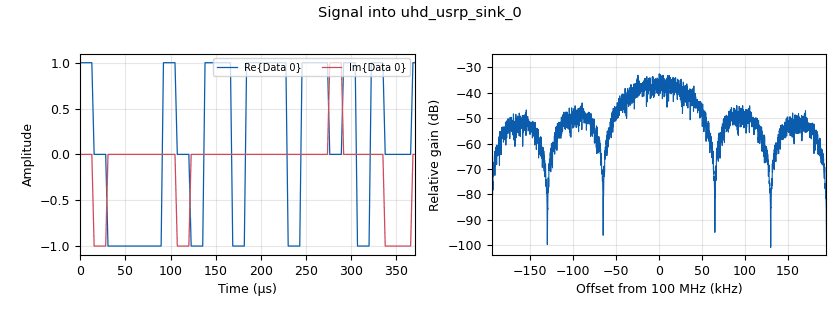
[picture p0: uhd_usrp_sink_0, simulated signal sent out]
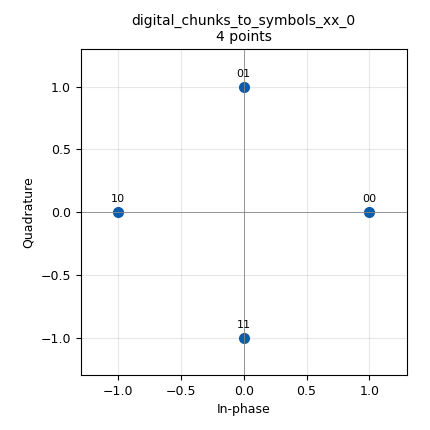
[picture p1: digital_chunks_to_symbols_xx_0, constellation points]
<?xml version='1.0' encoding='utf-8'?>
<?grc format='1' created='3.7.11'?>
<flow_graph>
<block>
<key>options</key>
<param><key>id</key><value>top_block</value></param>
<param><key>generate_options</key><value>qt_gui</value></param>
<param><key>run</key><value>run_stop</value></param>
</block>
<block>
<key>variable</key>
<param><key>id</key><value>Bps</value></param>
<param><key>value</key><value>int(math.log(M,2))</value></param>
</block>
<block>
<key>variable</key>
<param><key>id</key><value>Constelacion</value></param>
<param><key>_enabled</key><value>0</value></param>
<param><key>value</key><value>1.+0j,  -1.-0.j</value></param>
</block>
<block>
<key>variable</key>
<param><key>id</key><value>Constelacion</value></param>
<param><key>_enabled</key><value>0</value></param>
<param><key>value</key><value>digital.constellation_16qam().points()</value></param>
</block>
<block>
<key>variable</key>
<param><key>id</key><value>Constelacion</value></param>
<param><key>_enabled</key><value>0</value></param>
<param><key>value</key><value>digital.constellation_qpsk().points()</value></param>
</block>
<block>
<key>variable</key>
<param><key>id</key><value>Constelacion</value></param>
<param><key>_enabled</key><value>0</value></param>
<param><key>value</key><value>digital.constellation_8psk().points()</value></param>
</block>
<block>
<key>variable</key>
<param><key>id</key><value>Constelacion</value></param>
<param><key>value</key><value>1.+0j,  0.+1.j,  -1.-0.j,  0.-1.j</value></param>
</block>
<block>
<key>variable</key>
<param><key>id</key><value>Constelacion_0</value></param>
<param><key>_enabled</key><value>0</value></param>
<param><key>value</key><value>digital.constellation_bpsk().points()</value></param>
</block>
<block>
<key>variable</key>
<param><key>id</key><value>EsN0max</value></param>
<param><key>value</key><value>30.</value></param>
</block>
<block>
<key>variable</key>
<param><key>id</key><value>EsN0min</value></param>
<param><key>value</key><value>-10.</value></param>
</block>
<block>
<key>variable_qtgui_range</key>
<param><key>id</key><value>Gain</value></param>
<param><key>value</key><value>10</value></param>
<param><key>orient</key><value>Qt.Horizontal</value></param>
<param><key>start</key><value>0</value></param>
<param><key>step</key><value>1</value></param>
<param><key>stop</key><value>40</value></param>
</block>
<block>
<key>variable_qtgui_range</key>
<param><key>id</key><value>Gain_Tx</value></param>
<param><key>value</key><value>10</value></param>
<param><key>orient</key><value>Qt.Horizontal</value></param>
<param><key>start</key><value>0</value></param>
<param><key>step</key><value>1</value></param>
<param><key>stop</key><value>40</value></param>
</block>
<block>
<key>variable</key>
<param><key>id</key><value>M</value></param>
<param><key>value</key><value>len(Constelacion)</value></param>
</block>
<block>
<key>variable_constellation</key>
<param><key>id</key><value>MiconstellationObject</value></param>
<param><key>const_points</key><value>Constelacion</value></param>
<param><key>type</key><value>calcdist</value></param>
<param><key>dims</key><value>1</value></param>
<param><key>rot_sym</key><value>4</value></param>
<param><key>precision</key><value>8</value></param>
<param><key>sym_map</key><value></value></param>
</block>
<block>
<key>variable</key>
<param><key>id</key><value>N_snr</value></param>
<param><key>value</key><value>64</value></param>
</block>
<block>
<key>variable_qtgui_range</key>
<param><key>id</key><value>Ph_correction</value></param>
<param><key>value</key><value>0</value></param>
<param><key>gui_hint</key><value>0,3,1,1</value></param>
<param><key>label</key><value>Ph_correction</value></param>
<param><key>orient</key><value>Qt.Horizontal</value></param>
<param><key>start</key><value>-numpy.pi</value></param>
<param><key>step</key><value>2*numpy.pi/720.</value></param>
<param><key>stop</key><value>numpy.pi</value></param>
</block>
<block>
<key>variable</key>
<param><key>id</key><value>RB</value></param>
<param><key>value</key><value>Rb/8</value></param>
</block>
<block>
<key>variable</key>
<param><key>id</key><value>Rb</value></param>
<param><key>value</key><value>Rs*Bps</value></param>
</block>
<block>
<key>variable_qtgui_range</key>
<param><key>id</key><value>Retardo_Timing</value></param>
<param><key>value</key><value>5</value></param>
<param><key>gui_hint</key><value>0,2,1,1</value></param>
<param><key>label</key><value>Timing</value></param>
<param><key>orient</key><value>Qt.Horizontal</value></param>
<param><key>start</key><value>0</value></param>
<param><key>step</key><value>1</value></param>
<param><key>stop</key><value>Sps-1</value></param>
<param><key>rangeType</key><value>int</value></param>
</block>
<block>
<key>variable_qtgui_range</key>
<param><key>id</key><value>Retardo_propag</value></param>
<param><key>value</key><value>1</value></param>
<param><key>gui_hint</key><value>0,1,1,1</value></param>
<param><key>label</key><value>Propagation delay</value></param>
<param><key>orient</key><value>Qt.Horizontal</value></param>
<param><key>start</key><value>0</value></param>
<param><key>step</key><value>1</value></param>
<param><key>stop</key><value>Sps*10</value></param>
<param><key>rangeType</key><value>int</value></param>
</block>
<block>
<key>variable</key>
<param><key>id</key><value>Rolloff</value></param>
<param><key>value</key><value>1.0</value></param>
</block>
<block>
<key>variable</key>
<param><key>id</key><value>Rs</value></param>
<param><key>value</key><value>samp_rate/Sps</value></param>
</block>
<block>
<key>variable</key>
<param><key>id</key><value>Sps</value></param>
<param><key>value</key><value>6</value></param>
</block>
<block>
<key>variable</key>
<param><key>id</key><value>W</value></param>
<param><key>value</key><value>Rb/2</value></param>
</block>
<block>
<key>variable_qtgui_range</key>
<param><key>id</key><value>fc</value></param>
<param><key>value</key><value>100e6</value></param>
<param><key>_enabled</key><value>0</value></param>
<param><key>orient</key><value>Qt.Horizontal</value></param>
<param><key>start</key><value>1e3</value></param>
<param><key>step</key><value>1e3</value></param>
<param><key>stop</key><value>1e9</value></param>
</block>
<block>
<key>variable</key>
<param><key>id</key><value>fc</value></param>
<param><key>value</key><value>100e6</value></param>
</block>
<block>
<key>variable</key>
<param><key>id</key><value>h</value></param>
<param><key>value</key><value>wform.rect(Sps)</value></param>
</block>
<block>
<key>variable</key>
<param><key>id</key><value>h</value></param>
<param><key>_enabled</key><value>0</value></param>
<param><key>value</key><value>wform.rrcos(Sps,ntaps,Rolloff)</value></param>
</block>
<block>
<key>variable</key>
<param><key>id</key><value>ntaps</value></param>
<param><key>value</key><value>Sps*32</value></param>
</block>
<block>
<key>variable_qtgui_check_box</key>
<param><key>id</key><value>run_stop</value></param>
<param><key>value</key><value>True</value></param>
<param><key>false</key><value>False</value></param>
<param><key>gui_hint</key><value>0,0,1,1</value></param>
<param><key>label</key><value>Pause</value></param>
<param><key>true</key><value>True</value></param>
<param><key>type</key><value>int</value></param>
</block>
<block>
<key>variable</key>
<param><key>id</key><value>samp_rate</value></param>
<param><key>value</key><value>(100e6)/256</value></param>
</block>
<block>
<key>E3TRadio_diezmador_cc</key>
<param><key>id</key><value>E3TRadio_diezmador_cc_0</value></param>
<param><key>paso</key><value>Sps</value></param>
</block>
<block>
<key>analog_const_source_x</key>
<param><key>id</key><value>analog_const_source_x_0</value></param>
<param><key>const</key><value>numpy.exp(Ph_correction*1.j)</value></param>
<param><key>type</key><value>complex</value></param>
</block>
<block>
<key>analog_random_source_x</key>
<param><key>id</key><value>analog_random_source_x_0</value></param>
<param><key>max</key><value>256</value></param>
<param><key>min</key><value>0</value></param>
<param><key>num_samps</key><value>1000000</value></param>
<param><key>type</key><value>byte</value></param>
<param><key>repeat</key><value>True</value></param>
</block>
<block>
<key>b_Eye_Diagram_simple_c</key>
<param><key>id</key><value>b_Eye_Diagram_simple_c_0</value></param>
<param><key>AlphaLineas</key><value>0.5</value></param>
<param><key>Delay_i</key><value>0</value></param>
<param><key>gui_hint</key><value>menu@2:1,0,1,1</value></param>
<param><key>GrosorLineas</key><value>20</value></param>
<param><key>Kint</key><value>1</value></param>
<param><key>N_eyes</key><value>2</value></param>
<param><key>Samprate1</key><value>samp_rate</value></param>
<param><key>Sps1</key><value>Sps</value></param>
<param><key>Title</key><value>"Eye Diagramm en T1"</value></param>
<param><key>Ymax</key><value>2</value></param>
<param><key>Ymin</key><value>-2</value></param>
</block>
<block>
<key>b_Eye_Diagram_simple_c</key>
<param><key>id</key><value>b_Eye_Diagram_simple_c_0_0</value></param>
<param><key>AlphaLineas</key><value>0.5</value></param>
<param><key>Delay_i</key><value>0</value></param>
<param><key>gui_hint</key><value>menu@2:2,0,1,1</value></param>
<param><key>GrosorLineas</key><value>20</value></param>
<param><key>Kint</key><value>1</value></param>
<param><key>N_eyes</key><value>2</value></param>
<param><key>Samprate1</key><value>samp_rate</value></param>
<param><key>Sps1</key><value>Sps</value></param>
<param><key>Title</key><value>"Eye Diagramm en R1"</value></param>
<param><key>Ymax</key><value>2</value></param>
<param><key>Ymin</key><value>-2</value></param>
</block>
<block>
<key>b_Eye_Timing_c</key>
<param><key>id</key><value>b_Eye_Timing_c_0</value></param>
<param><key>AlphaLineas</key><value>0.5</value></param>
<param><key>gui_hint</key><value>menu@0:1,0,1,1</value></param>
<param><key>GrosorLineas</key><value>20</value></param>
<param><key>N_eyes</key><value>2</value></param>
<param><key>Retardo_Timing</key><value>Retardo_Timing</value></param>
<param><key>Samprate</key><value>samp_rate</value></param>
<param><key>Sps</key><value>Sps</value></param>
<param><key>Title</key><value>"Eye Diagram and Timing"</value></param>
<param><key>Ymax</key><value>2</value></param>
<param><key>Ymin</key><value>-2</value></param>
</block>
<block>
<key>b_PSD_c</key>
<param><key>id</key><value>b_PSD_c_0</value></param>
<param><key>Fc</key><value>0</value></param>
<param><key>samp_rate_audio</key><value>samp_rate</value></param>
<param><key>gui_hint</key><value>menu@5:2,0,1,1</value></param>
<param><key>N</key><value>1024</value></param>
<param><key>Ensayos</key><value>1000000</value></param>
<param><key>Titulo</key><value>'PSD in R1'</value></param>
<param><key>Ymax</key><value>1e-5</value></param>
</block>
<block>
<key>b_PSD_c</key>
<param><key>id</key><value>b_PSD_c_0_0</value></param>
<param><key>Fc</key><value>0</value></param>
<param><key>samp_rate_audio</key><value>samp_rate</value></param>
<param><key>gui_hint</key><value>menu@5:1,0,1,1</value></param>
<param><key>N</key><value>1024</value></param>
<param><key>Ensayos</key><value>1000000</value></param>
<param><key>Titulo</key><value>'PSD in T1'</value></param>
<param><key>Ymax</key><value>1e-5</value></param>
</block>
<block>
<key>b_USRP_2_USRP_v2</key>
<param><key>id</key><value>b_USRP_2_USRP_v2_0</value></param>
<param><key>Ch_Phoffset</key><value>(numpy.pi)*2*random.random()</value></param>
<param><key>Ch_Loss_dB</key><value>10.</value></param>
<param><key>Ch_Toffset</key><value>0</value></param>
<param><key>Ch_NodB</key><value>-60</value></param>
<param><key>_enabled</key><value>0</value></param>
<param><key>Tx_Fc</key><value>fc</value></param>
<param><key>Rx_B</key><value>samp_rate</value></param>
<param><key>Rx_Fc</key><value>fc</value></param>
<param><key>Rx_Gain_dB</key><value>0</value></param>
<param><key>Rx__samp_rate</key><value>samp_rate</value></param>
<param><key>Tx_B</key><value>samp_rate</value></param>
<param><key>Tx_Gain_dB</key><value>10.</value></param>
<param><key>Tx__samp_rate</key><value>1000</value></param>
</block>
<block>
<key>blocks_char_to_float</key>
<param><key>id</key><value>blocks_char_to_float_0_0_0</value></param>
<param><key>scale</key><value>1</value></param>
</block>
<block>
<key>blocks_char_to_float</key>
<param><key>id</key><value>blocks_char_to_float_0_1</value></param>
<param><key>scale</key><value>1</value></param>
</block>
<block>
<key>blocks_delay</key>
<param><key>id</key><value>blocks_delay_0_0</value></param>
<param><key>delay</key><value>Sps-Retardo_Timing</value></param>
<param><key>type</key><value>complex</value></param>
</block>
<block>
<key>blocks_delay</key>
<param><key>id</key><value>blocks_delay_0_1</value></param>
<param><key>delay</key><value>Retardo_propag</value></param>
<param><key>type</key><value>byte</value></param>
</block>
<block>
<key>blocks_multiply_const_vxx</key>
<param><key>id</key><value>blocks_multiply_const_vxx_0</value></param>
<param><key>const</key><value>1./Sps</value></param>
<param><key>type</key><value>complex</value></param>
</block>
<block>
<key>blocks_multiply_xx</key>
<param><key>id</key><value>blocks_multiply_xx_0</value></param>
<param><key>type</key><value>complex</value></param>
</block>
<block>
<key>blocks_null_sink</key>
<param><key>id</key><value>blocks_null_sink_0</value></param>
<param><key>bus_conns</key><value>[[0,],]</value></param>
<param><key>type</key><value>byte</value></param>
</block>
<block>
<key>blocks_packed_to_unpacked_xx</key>
<param><key>id</key><value>blocks_packed_to_unpacked_xx_0</value></param>
<param><key>bits_per_chunk</key><value>Bps</value></param>
<param><key>endianness</key><value>gr.GR_MSB_FIRST</value></param>
<param><key>type</key><value>byte</value></param>
</block>
<block>
<key>blocks_unpacked_to_packed_xx</key>
<param><key>id</key><value>blocks_unpacked_to_packed_xx_0</value></param>
<param><key>bits_per_chunk</key><value>Bps</value></param>
<param><key>endianness</key><value>gr.GR_MSB_FIRST</value></param>
<param><key>type</key><value>byte</value></param>
</block>
<block>
<key>digital_chunks_to_symbols_xx</key>
<param><key>id</key><value>digital_chunks_to_symbols_xx_0</value></param>
<param><key>dimension</key><value>1</value></param>
<param><key>in_type</key><value>byte</value></param>
<param><key>out_type</key><value>complex</value></param>
<param><key>symbol_table</key><value>Constelacion</value></param>
</block>
<block>
<key>digital_constellation_decoder_cb</key>
<param><key>id</key><value>digital_constellation_decoder_cb_0</value></param>
<param><key>constellation</key><value>MiconstellationObject</value></param>
</block>
<block>
<key>import</key>
<param><key>id</key><value>import_0</value></param>
<param><key>import</key><value>import math</value></param>
</block>
<block>
<key>import</key>
<param><key>id</key><value>import_0_0</value></param>
<param><key>import</key><value>import random</value></param>
</block>
<block>
<key>interp_fir_filter_xxx</key>
<param><key>id</key><value>interp_fir_filter_xxx_0</value></param>
<param><key>interp</key><value>Sps</value></param>
<param><key>taps</key><value>h</value></param>
<param><key>type</key><value>ccf</value></param>
</block>
<block>
<key>interp_fir_filter_xxx</key>
<param><key>id</key><value>interp_fir_filter_xxx_0_0</value></param>
<param><key>interp</key><value>1</value></param>
<param><key>taps</key><value>h</value></param>
<param><key>type</key><value>ccc</value></param>
</block>
<block>
<key>qtgui_tab_widget</key>
<param><key>id</key><value>menu</value></param>
<param><key>gui_hint</key><value>2,0,1,4</value></param>
<param><key>label0</key><value>Eye Timing</value></param>
<param><key>label1</key><value>BER</value></param>
<param><key>label2</key><value>Eye</value></param>
<param><key>label3</key><value></value></param>
<param><key>label4</key><value>Envolvente Compleja</value></param>
<param><key>label5</key><value>PSD</value></param>
<param><key>label6</key><value>Constelacion</value></param>
<param><key>num_tabs</key><value>7</value></param>
</block>
<block>
<key>note</key>
<param><key>id</key><value>note_0</value></param>
<param><key>note</key><value>M-PAM LAYER</value></param>
</block>
<block>
<key>note</key>
<param><key>id</key><value>note_0_0</value></param>
<param><key>note</key><value>ADAPTATION LAYER</value></param>
</block>
<block>
<key>note</key>
<param><key>id</key><value>note_0_0_0</value></param>
<param><key>note</key><value>CHANNEL LAYER</value></param>
</block>
<block>
<key>note</key>
<param><key>id</key><value>note_0_0_0_1</value></param>
<param><key>note</key><value>Modulation</value></param>
</block>
<block>
<key>note</key>
<param><key>id</key><value>note_0_1</value></param>
<param><key>note</key><value>APPLICATION LAYER</value></param>
</block>
<block>
<key>qtgui_const_sink_x</key>
<param><key>id</key><value>qtgui_const_sink_x_0</value></param>
<param><key>gui_hint</key><value>menu@6:1,0,1,1</value></param>
<param><key>label1</key><value>T4</value></param>
<param><key>label2</key><value>R4</value></param>
<param><key>nconnections</key><value>2</value></param>
<param><key>size</key><value>1024</value></param>
<param><key>type</key><value>complex</value></param>
</block>
<block>
<key>qtgui_time_sink_x</key>
<param><key>id</key><value>qtgui_time_sink_x_0_0_0</value></param>
<param><key>gui_hint</key><value>menu@4:1,0,1,1</value></param>
<param><key>color1</key><value>"blue"</value></param>
<param><key>label1</key><value>T1 (Re)</value></param>
<param><key>width1</key><value>3</value></param>
<param><key>color2</key><value>"red"</value></param>
<param><key>label2</key><value>T1 (Im)</value></param>
<param><key>width2</key><value>3</value></param>
<param><key>color3</key><value>"green"</value></param>
<param><key>label3</key><value>R1 (Re)</value></param>
<param><key>width3</key><value>3</value></param>
<param><key>color4</key><value>"magenta"</value></param>
<param><key>label4</key><value>R1 (Im)</value></param>
<param><key>width4</key><value>3</value></param>
<param><key>nconnections</key><value>2</value></param>
<param><key>size</key><value>20*Sps</value></param>
<param><key>srate</key><value>samp_rate</value></param>
<param><key>type</key><value>complex</value></param>
<param><key>ymax</key><value>3</value></param>
<param><key>ymin</key><value>-3</value></param>
</block>
<block>
<key>qtgui_time_sink_x</key>
<param><key>id</key><value>qtgui_time_sink_x_0_1</value></param>
<param><key>gui_hint</key><value>menu@1:1,0,1,1</value></param>
<param><key>color1</key><value>"blue"</value></param>
<param><key>label1</key><value>MPAM (T5)</value></param>
<param><key>marker1</key><value>0</value></param>
<param><key>width1</key><value>2</value></param>
<param><key>color2</key><value>"red"</value></param>
<param><key>label2</key><value>MPAM (R5)</value></param>
<param><key>marker2</key><value>0</value></param>
<param><key>width2</key><value>2</value></param>
<param><key>nconnections</key><value>2</value></param>
<param><key>size</key><value>60</value></param>
<param><key>srate</key><value>Rs</value></param>
<param><key>stemplot</key><value>True</value></param>
<param><key>type</key><value>float</value></param>
<param><key>ymax</key><value>M</value></param>
</block>
<block>
<key>uhd_usrp_sink</key>
<param><key>id</key><value>uhd_usrp_sink_0</value></param>
<param><key>ant0</key><value>TX/RX</value></param>
<param><key>bw0</key><value>samp_rate</value></param>
<param><key>center_freq0</key><value>fc</value></param>
<param><key>norm_gain0</key><value>False</value></param>
<param><key>gain0</key><value>Gain_Tx</value></param>
<param><key>clock_rate</key><value>0.0</value></param>
<param><key>dev_args</key><value>""</value></param>
<param><key>type</key><value>fc32</value></param>
<param><key>samp_rate</key><value>samp_rate</value></param>
<param><key>hide_cmd_port</key><value>False</value></param>
<param><key>hide_lo_controls</key><value>True</value></param>
<param><key>sync</key><value></value></param>
<param><key>len_tag_name</key><value></value></param>
</block>
<block>
<key>uhd_usrp_source</key>
<param><key>id</key><value>uhd_usrp_source_0</value></param>
<param><key>ant0</key><value>RX2</value></param>
<param><key>bw0</key><value>samp_rate</value></param>
<param><key>center_freq0</key><value>fc</value></param>
<param><key>dc_offs_enb0</key><value>""</value></param>
<param><key>iq_imbal_enb0</key><value>""</value></param>
<param><key>norm_gain0</key><value>False</value></param>
<param><key>gain0</key><value>Gain</value></param>
<param><key>clock_rate</key><value>0.0</value></param>
<param><key>dev_args</key><value>""</value></param>
<param><key>type</key><value>fc32</value></param>
<param><key>samp_rate</key><value>samp_rate</value></param>
<param><key>hide_cmd_port</key><value>False</value></param>
<param><key>hide_lo_controls</key><value>True</value></param>
<param><key>sync</key><value></value></param>
</block>
<block>
<key>virtual_sink</key>
<param><key>id</key><value>virtual_sink_0_0_0</value></param>
<param><key>stream_id</key><value>T5</value></param>
</block>
<block>
<key>virtual_sink</key>
<param><key>id</key><value>virtual_sink_0_0_0_0</value></param>
<param><key>stream_id</key><value>R5</value></param>
</block>
<block>
<key>virtual_sink</key>
<param><key>id</key><value>virtual_sink_0_0_0_0_0</value></param>
<param><key>stream_id</key><value>R6</value></param>
</block>
<block>
<key>virtual_sink</key>
<param><key>id</key><value>virtual_sink_0_0_0_1</value></param>
<param><key>stream_id</key><value>T6</value></param>
</block>
<block>
<key>virtual_source</key>
<param><key>id</key><value>virtual_source_0</value></param>
<param><key>stream_id</key><value>T4</value></param>
</block>
<block>
<key>virtual_source</key>
<param><key>id</key><value>virtual_source_0_0</value></param>
<param><key>stream_id</key><value>R4</value></param>
</block>
<block>
<key>virtual_sink</key>
<param><key>id</key><value>vs_0</value></param>
<param><key>stream_id</key><value>T1</value></param>
</block>
<block>
<key>virtual_sink</key>
<param><key>id</key><value>vs_0_0</value></param>
<param><key>stream_id</key><value>R1</value></param>
</block>
<block>
<key>virtual_sink</key>
<param><key>id</key><value>vs_0_0_1</value></param>
<param><key>stream_id</key><value>R4</value></param>
</block>
<block>
<key>virtual_sink</key>
<param><key>id</key><value>vs_0_0_1_0</value></param>
<param><key>stream_id</key><value>R4a</value></param>
</block>
<block>
<key>virtual_sink</key>
<param><key>id</key><value>vs_0_2</value></param>
<param><key>stream_id</key><value>T4</value></param>
</block>
<block>
<key>virtual_source</key>
<param><key>id</key><value>vso_0_1_0_0</value></param>
<param><key>stream_id</key><value>R4a</value></param>
</block>
<block>
<key>virtual_source</key>
<param><key>id</key><value>vso_0_1_0_0_0</value></param>
<param><key>stream_id</key><value>T1</value></param>
</block>
<block>
<key>virtual_source</key>
<param><key>id</key><value>vso_0_1_0_0_0_0</value></param>
<param><key>stream_id</key><value>R1</value></param>
</block>
<block>
<key>virtual_source</key>
<param><key>id</key><value>vso_0_1_0_0_0_0_0</value></param>
<param><key>stream_id</key><value>R5</value></param>
</block>
<block>
<key>virtual_source</key>
<param><key>id</key><value>vso_0_1_0_0_0_1</value></param>
<param><key>stream_id</key><value>T5</value></param>
</block>
<block>
<key>virtual_source</key>
<param><key>id</key><value>vso_0_1_0_0_1_0_0</value></param>
<param><key>stream_id</key><value>R1</value></param>
</block>
<block>
<key>virtual_source</key>
<param><key>id</key><value>vso_0_1_0_0_1_0_0_0</value></param>
<param><key>stream_id</key><value>R4</value></param>
</block>
<block>
<key>virtual_source</key>
<param><key>id</key><value>vso_0_1_0_0_1_1</value></param>
<param><key>stream_id</key><value>T1</value></param>
</block>
<block>
<key>virtual_source</key>
<param><key>id</key><value>vso_0_1_0_0_1_1_0</value></param>
<param><key>stream_id</key><value>T4</value></param>
</block>
<block>
<key>epy_module</key>
<param><key>id</key><value>wform</value></param>
<param><key>source_code</key><value>import math
import numpy
#######################################################
##        Hecho por Homero Ortega Boada              ##
##        comdiguis@saber.uis.edu.co                 ##
##     Universidad Industrial de Santander           ##
#######################################################

#######################################################
##               Forma rectangular                   ##
#######################################################                       
def rect(Sps):
    return Sps*[1.,]

#######################################################
##               Forma de Nyquist                    ##
#######################################################                       
def nyq(Sps,ntaps):
    n=numpy.linspace(-int(ntaps/2), int(ntaps/2-1),ntaps)
    h=numpy.sinc(n/Sps)
#    return h/numpy.amax(h)
    return h
#######################################################
##               Forma Coseno Alzado                 ##
#######################################################                       
def rcos(Sps,ntaps,beta):
    if beta==0:
        h=nyq(Sps,ntaps)
    else:
        h=ntaps*[0,]
        for n in range(ntaps):
            k=n-ntaps/2. # esto es para que h[n] quede centrada en la mitad del vector
            if abs(k)==Sps/(2.*beta):
                h[n]=numpy.sinc(1./(2.*beta))*math.pi/4.
            else:
                h[n]=numpy.sinc(k/Sps)*math.cos(beta*k*math.pi/Sps)/(1.-(2.*beta*k/Sps)**2)                
    Amp=numpy.amax(h)
    return h/Amp
#######################################################
##            Forma Raiz de Coseno Alzado            ##
#######################################################                       

def rrcos(Sps,ntaps,beta):
    if beta==0:
        h=nyq(Sps,ntaps)
    else:
        h=ntaps*[0,]
        beta4=4.*beta
        for n in range(ntaps):
            k=n-ntaps/2. # esto es para que h[n] quede centrada en la mitad del vector
            if k==0:
                h[n]=1+beta*(4./math.pi-1.)
            elif abs(k)==Sps/beta4:
                ha=(1.+2./math.pi)*math.sin(math.pi/beta4)
                hb=(1.-2./math.pi)*math.cos(math.pi/beta4)
                h[n]=(ha+hb)*beta/math.sqrt(2.)
            else:
                ks=k/Sps
                kspi=math.pi*ks
                Num=math.sin(kspi*(1-beta))+beta4*ks*math.cos(kspi*(1+beta))
                Den=kspi*(1.-(beta4*ks)**2)
                h[n]=Num/Den                
    Amp=numpy.amax(h)
    return h/Amp
</value></param>
</block>
<connection><source_block_id>E3TRadio_diezmador_cc_0</source_block_id><sink_block_id>vs_0_0_1</sink_block_id><source_key>0</source_key><sink_key>0</sink_key></connection>
<connection><source_block_id>analog_const_source_x_0</source_block_id><sink_block_id>blocks_multiply_xx_0</sink_block_id><source_key>0</source_key><sink_key>1</sink_key></connection>
<connection><source_block_id>analog_random_source_x_0</source_block_id><sink_block_id>blocks_packed_to_unpacked_xx_0</sink_block_id><source_key>0</source_key><sink_key>0</sink_key></connection>
<connection><source_block_id>analog_random_source_x_0</source_block_id><sink_block_id>virtual_sink_0_0_0_1</sink_block_id><source_key>0</source_key><sink_key>0</sink_key></connection>
<connection><source_block_id>b_USRP_2_USRP_v2_0</source_block_id><sink_block_id>blocks_multiply_xx_0</sink_block_id><source_key>0</source_key><sink_key>0</sink_key></connection>
<connection><source_block_id>blocks_char_to_float_0_0_0</source_block_id><sink_block_id>qtgui_time_sink_x_0_1</sink_block_id><source_key>0</source_key><sink_key>1</sink_key></connection>
<connection><source_block_id>blocks_char_to_float_0_1</source_block_id><sink_block_id>qtgui_time_sink_x_0_1</sink_block_id><source_key>0</source_key><sink_key>0</sink_key></connection>
<connection><source_block_id>blocks_delay_0_0</source_block_id><sink_block_id>E3TRadio_diezmador_cc_0</sink_block_id><source_key>0</source_key><sink_key>0</sink_key></connection>
<connection><source_block_id>blocks_delay_0_1</source_block_id><sink_block_id>blocks_char_to_float_0_1</sink_block_id><source_key>0</source_key><sink_key>0</sink_key></connection>
<connection><source_block_id>blocks_multiply_const_vxx_0</source_block_id><sink_block_id>blocks_delay_0_0</sink_block_id><source_key>0</source_key><sink_key>0</sink_key></connection>
<connection><source_block_id>blocks_multiply_const_vxx_0</source_block_id><sink_block_id>vs_0_0_1_0</sink_block_id><source_key>0</source_key><sink_key>0</sink_key></connection>
<connection><source_block_id>blocks_multiply_xx_0</source_block_id><sink_block_id>interp_fir_filter_xxx_0_0</sink_block_id><source_key>0</source_key><sink_key>0</sink_key></connection>
<connection><source_block_id>blocks_multiply_xx_0</source_block_id><sink_block_id>vs_0_0</sink_block_id><source_key>0</source_key><sink_key>0</sink_key></connection>
<connection><source_block_id>blocks_packed_to_unpacked_xx_0</source_block_id><sink_block_id>digital_chunks_to_symbols_xx_0</sink_block_id><source_key>0</source_key><sink_key>0</sink_key></connection>
<connection><source_block_id>blocks_packed_to_unpacked_xx_0</source_block_id><sink_block_id>virtual_sink_0_0_0</sink_block_id><source_key>0</source_key><sink_key>0</sink_key></connection>
<connection><source_block_id>blocks_unpacked_to_packed_xx_0</source_block_id><sink_block_id>blocks_null_sink_0</sink_block_id><source_key>0</source_key><sink_key>0</sink_key></connection>
<connection><source_block_id>blocks_unpacked_to_packed_xx_0</source_block_id><sink_block_id>virtual_sink_0_0_0_0_0</sink_block_id><source_key>0</source_key><sink_key>0</sink_key></connection>
<connection><source_block_id>digital_chunks_to_symbols_xx_0</source_block_id><sink_block_id>vs_0_2</sink_block_id><source_key>0</source_key><sink_key>0</sink_key></connection>
<connection><source_block_id>digital_constellation_decoder_cb_0</source_block_id><sink_block_id>blocks_unpacked_to_packed_xx_0</sink_block_id><source_key>0</source_key><sink_key>0</sink_key></connection>
<connection><source_block_id>digital_constellation_decoder_cb_0</source_block_id><sink_block_id>virtual_sink_0_0_0_0</sink_block_id><source_key>0</source_key><sink_key>0</sink_key></connection>
<connection><source_block_id>interp_fir_filter_xxx_0</source_block_id><sink_block_id>b_USRP_2_USRP_v2_0</sink_block_id><source_key>0</source_key><sink_key>0</sink_key></connection>
<connection><source_block_id>interp_fir_filter_xxx_0</source_block_id><sink_block_id>uhd_usrp_sink_0</sink_block_id><source_key>0</source_key><sink_key>0</sink_key></connection>
<connection><source_block_id>interp_fir_filter_xxx_0</source_block_id><sink_block_id>vs_0</sink_block_id><source_key>0</source_key><sink_key>0</sink_key></connection>
<connection><source_block_id>interp_fir_filter_xxx_0_0</source_block_id><sink_block_id>blocks_multiply_const_vxx_0</sink_block_id><source_key>0</source_key><sink_key>0</sink_key></connection>
<connection><source_block_id>uhd_usrp_source_0</source_block_id><sink_block_id>blocks_multiply_xx_0</sink_block_id><source_key>0</source_key><sink_key>0</sink_key></connection>
<connection><source_block_id>virtual_source_0</source_block_id><sink_block_id>interp_fir_filter_xxx_0</sink_block_id><source_key>0</source_key><sink_key>0</sink_key></connection>
<connection><source_block_id>virtual_source_0_0</source_block_id><sink_block_id>digital_constellation_decoder_cb_0</sink_block_id><source_key>0</source_key><sink_key>0</sink_key></connection>
<connection><source_block_id>vso_0_1_0_0</source_block_id><sink_block_id>b_Eye_Timing_c_0</sink_block_id><source_key>0</source_key><sink_key>0</sink_key></connection>
<connection><source_block_id>vso_0_1_0_0_0</source_block_id><sink_block_id>b_Eye_Diagram_simple_c_0</sink_block_id><source_key>0</source_key><sink_key>0</sink_key></connection>
<connection><source_block_id>vso_0_1_0_0_0_0</source_block_id><sink_block_id>b_Eye_Diagram_simple_c_0_0</sink_block_id><source_key>0</source_key><sink_key>0</sink_key></connection>
<connection><source_block_id>vso_0_1_0_0_0_0_0</source_block_id><sink_block_id>blocks_char_to_float_0_0_0</sink_block_id><source_key>0</source_key><sink_key>0</sink_key></connection>
<connection><source_block_id>vso_0_1_0_0_0_1</source_block_id><sink_block_id>blocks_delay_0_1</sink_block_id><source_key>0</source_key><sink_key>0</sink_key></connection>
<connection><source_block_id>vso_0_1_0_0_1_0_0</source_block_id><sink_block_id>b_PSD_c_0</sink_block_id><source_key>0</source_key><sink_key>0</sink_key></connection>
<connection><source_block_id>vso_0_1_0_0_1_0_0</source_block_id><sink_block_id>qtgui_time_sink_x_0_0_0</sink_block_id><source_key>0</source_key><sink_key>1</sink_key></connection>
<connection><source_block_id>vso_0_1_0_0_1_0_0_0</source_block_id><sink_block_id>qtgui_const_sink_x_0</sink_block_id><source_key>0</source_key><sink_key>1</sink_key></connection>
<connection><source_block_id>vso_0_1_0_0_1_1</source_block_id><sink_block_id>b_PSD_c_0_0</sink_block_id><source_key>0</source_key><sink_key>0</sink_key></connection>
<connection><source_block_id>vso_0_1_0_0_1_1</source_block_id><sink_block_id>qtgui_time_sink_x_0_0_0</sink_block_id><source_key>0</source_key><sink_key>0</sink_key></connection>
<connection><source_block_id>vso_0_1_0_0_1_1_0</source_block_id><sink_block_id>qtgui_const_sink_x_0</sink_block_id><source_key>0</source_key><sink_key>0</sink_key></connection>
</flow_graph>
